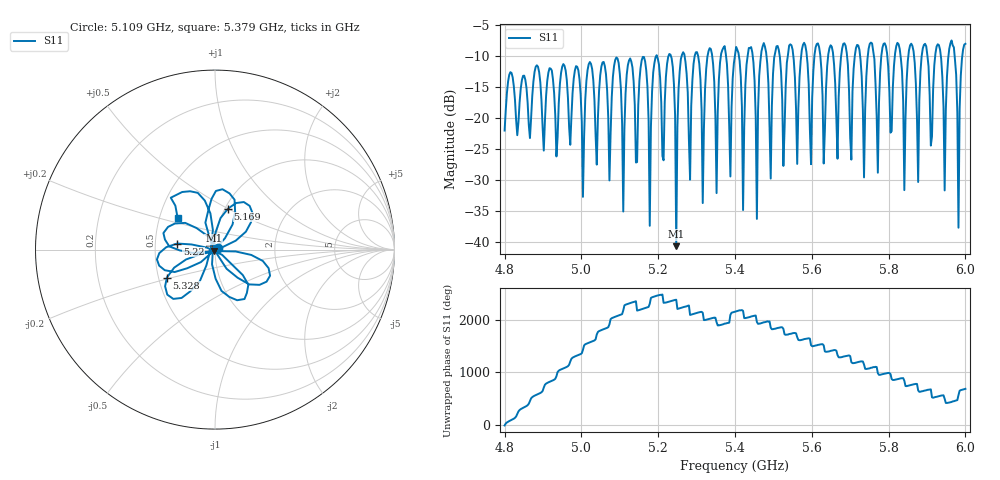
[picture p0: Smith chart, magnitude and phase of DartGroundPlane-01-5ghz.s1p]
! NanoVNA-App
! Date: 2026-05-25 02:03:26
! Start: 4.8GHz Stop: 6GHz Points: 401
! S-Parameter data: F S11
# Hz S RI R 50
!  Frequency  S11_Real  S11_Imag
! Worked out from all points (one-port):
!   401 points, 4.8 GHz to 6 GHz, reference 50 ohm
!   lowest |S11| = -40.7 dB at 5.247 GHz (marker M1), VSWR 1.02, Z = 49.3 - j0.637 ohm
!   |S11| at or under -10 dB: start of sweep to 5.195 GHz; 5.197 GHz to 5.227 GHz (30.33 MHz wide, 0.582 % of centre); 5.233 GHz to 5.261 GHz (28.13 MHz wide, 0.536 % of centre)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
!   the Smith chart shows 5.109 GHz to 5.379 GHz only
!   S11 on the Smith chart (normalised r, x): 5.109 GHz: 1.03, +0.01; 5.169 GHz: 1.03, +0.50; 5.22 GHz: 0.65, +0.05; 5.328 GHz: 0.55, -0.19; 5.379 GHz: 0.62, +0.24
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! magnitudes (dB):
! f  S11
! 4.8 GHz  -22.1
! 4.95 GHz  -11.7
! 5.1 GHz  -12.9
! 5.109 GHz  -35.1
! 5.169 GHz  -12.4
! 5.22 GHz  -13.4
! 5.247 GHz  -40.7
! 5.25 GHz  -21.5
! 5.262 GHz  -9.8
! 5.316 GHz  -33.8
! 5.328 GHz  -10.2
! 5.379 GHz  -11.3
! 5.4 GHz  -9.8
! 5.457 GHz  -36.3
! 5.472 GHz  -8.4
! 5.493 GHz  -29.8
! 5.55 GHz  -9.0
! 5.631 GHz  -27.4
! 5.685 GHz  -8.0
! 5.7 GHz  -23.2
! 5.718 GHz  -8.2
! 5.736 GHz  -29.6
! 5.85 GHz  -10.8
! 5.931 GHz  -8.2
! 5.946 GHz  -31.7
! 5.964 GHz  -7.5
! 5.982 GHz  -37.8
! 6 GHz  -8.0
